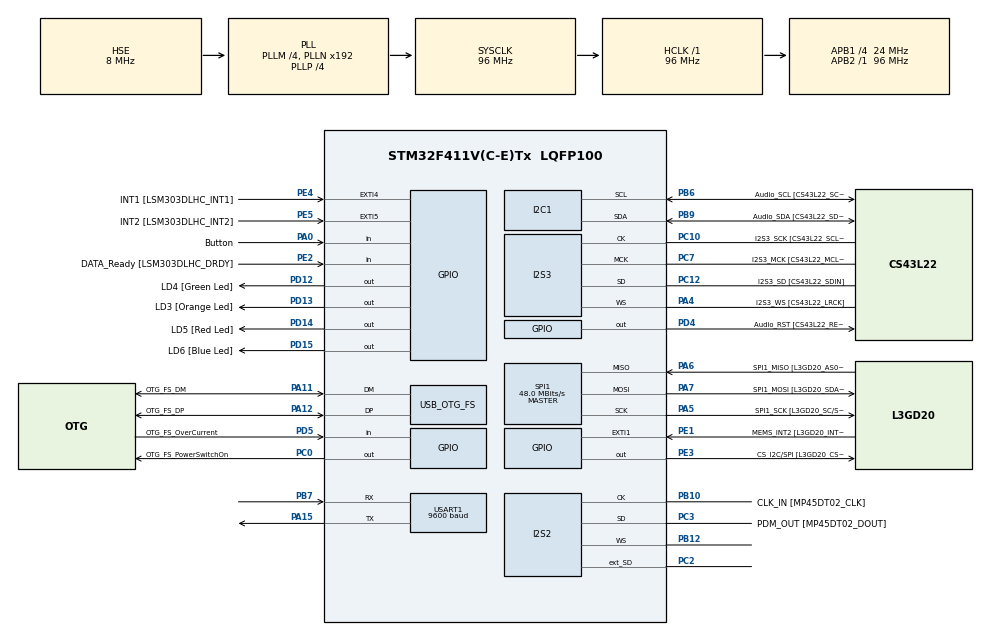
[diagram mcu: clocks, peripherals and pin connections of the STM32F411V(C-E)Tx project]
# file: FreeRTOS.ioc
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ADC1.Channel-7\#ChannelRegularConversion=ADC_CHANNEL_TEMPSENSOR
ADC1.NbrOfConversionFlag=1
ADC1.Rank-7\#ChannelRegularConversion=1
ADC1.SamplingTime-7\#ChannelRegularConversion=ADC_SAMPLETIME_3CYCLES
ADC1.master=1
FREERTOS.CountingSemaphores01=BigMac,100,Dynamic,NULL
FREERTOS.Queues01=FromBluetooth,64,64,1,Dynamic,NULL,NULL
FREERTOS.Tasks01=defaultTask,0,128,StartDefaultTask,Default,NULL,Dynamic,NULL,NULL;PD12Thread,-3,128,StartTask02,Default,NULL,Dynamic,NULL,NULL;PD13Thread,-3,128,StartTask03,Default,NULL,Dynamic,NULL,NULL;PD14Thread,-3,128,StartTask04,Default,NULL,Dynamic,NULL,NULL;PD15Thread,-3,128,StartTask05,Default,NULL,Dynamic,NULL,NULL
FREERTOS.configUSE_COUNTING_SEMAPHORES=1
I2S2.AudioFreq=I2S_AUDIOFREQ_96K
I2S2.ErrorAudioFreq=0.15 %
I2S2.FullDuplexMode=I2S_FULLDUPLEXMODE_ENABLE
I2S2.Instance=SPI$Index
I2S2.RealAudioFreq=96.153 KHz
I2S2.VirtualMode=I2S_MODE_MASTER
I2S3.AudioFreq=I2S_AUDIOFREQ_96K
I2S3.ErrorAudioFreq=-6.99 %
I2S3.FullDuplexMode=I2S_FULLDUPLEXMODE_DISABLE
I2S3.Instance=SPI$Index
I2S3.RealAudioFreq=89.285 KHz
I2S3.VirtualMode=I2S_MODE_MASTER
Mcu.Family=STM32F4
Mcu.Name=STM32F411V(C-E)Tx
Mcu.Package=LQFP100
NVIC.ADC_IRQn=true\:0\:0\:false\:false\:true\:true\:true\:true
NVIC.OTG_FS_IRQn=true\:0\:0\:false\:false\:true\:true\:true\:true
NVIC.PriorityGroup=NVIC_PRIORITYGROUP_4
NVIC.TIM1_UP_TIM10_IRQn=true\:0\:0\:false\:false\:true\:false\:false\:true
NVIC.TimeBase=TIM1_UP_TIM10_IRQn
NVIC.TimeBaseIP=TIM1
NVIC.USART1_IRQn=true\:0\:0\:false\:false\:true\:true\:true\:true
PA0-WKUP.GPIO_Label=Button
PA0-WKUP.Signal=GPIO_Input
PA10.GPIO_Label=OTG_FS_ID
PA10.Signal=USB_OTG_FS_ID
PA11.GPIO_Label=OTG_FS_DM
PA11.Mode=Device_Only
PA11.Signal=USB_OTG_FS_DM
PA12.GPIO_Label=OTG_FS_DP
PA12.Mode=Device_Only
PA12.Signal=USB_OTG_FS_DP
PA13.GPIO_Label=SWDIO
PA13.Mode=Serial_Wire
PA13.Signal=SYS_JTMS-SWDIO
PA14.GPIO_Label=SWCLK
PA14.Mode=Serial_Wire
PA14.Signal=SYS_JTCK-SWCLK
PA15.Mode=Asynchronous
PA15.Signal=USART1_TX
PA4.GPIO_Label=I2S3_WS [CS43L22_LRCK]
PA4.GPIO_Mode=GPIO_MODE_AF_PP
PA4.GPIO_PuPd=GPIO_NOPULL
PA4.GPIO_Speed=GPIO_SPEED_FREQ_LOW
PA4.Mode=Half_Duplex_Master
PA4.Signal=I2S3_WS
PA5.GPIO_Label=SPI1_SCK [L3GD20_SC/SPC]
PA5.Mode=Full_Duplex_Master
PA5.Signal=SPI1_SCK
PA6.GPIO_Label=SPI1_MISO [L3GD20_AS0/SDO]
PA6.Mode=Full_Duplex_Master
PA6.Signal=SPI1_MISO
PA7.GPIO_Label=SPI1_MOSI [L3GD20_SDA/SDI/SDO]
PA7.Mode=Full_Duplex_Master
PA7.Signal=SPI1_MOSI
PA9.GPIO_Label=VBUS_FS
PA9.Signal=USB_OTG_FS_VBUS
PB10.GPIO_Label=CLK_IN [MP45DT02_CLK]
PB10.Mode=Full_Duplex_Master
PB10.Signal=I2S2_CK
PB12.Mode=Full_Duplex_Master
PB12.Signal=I2S2_WS
PB3.GPIO_Label=SWO
PB3.Signal=SYS_JTDO-SWO
PB6.GPIO_Label=Audio_SCL [CS43L22_SCL]
PB6.GPIO_Mode=GPIO_MODE_AF_OD
PB6.GPIO_PuPd=GPIO_NOPULL
PB6.GPIO_Speed=GPIO_SPEED_FREQ_LOW
PB6.Mode=I2C
PB6.Signal=I2C1_SCL
PB7.Mode=Asynchronous
PB7.Signal=USART1_RX
PB9.GPIO_Label=Audio_SDA [CS43L22_SDA]
PB9.GPIO_Mode=GPIO_MODE_AF_OD
PB9.GPIO_PuPd=GPIO_NOPULL
PB9.GPIO_Speed=GPIO_SPEED_FREQ_LOW
PB9.Mode=I2C
PB9.Signal=I2C1_SDA
PC0.GPIO_Label=OTG_FS_PowerSwitchOn
PC0.PinState=GPIO_PIN_SET
PC0.Signal=GPIO_Output
PC10.GPIO_Label=I2S3_SCK [CS43L22_SCLK]
PC10.GPIO_Mode=GPIO_MODE_AF_PP
PC10.GPIO_PuPd=GPIO_NOPULL
PC10.GPIO_Speed=GPIO_SPEED_FREQ_LOW
PC10.Mode=Half_Duplex_Master
PC10.Signal=I2S3_CK
PC12.GPIO_Label=I2S3_SD [CS43L22_SDIN]
PC12.GPIO_Mode=GPIO_MODE_AF_PP
PC12.GPIO_PuPd=GPIO_NOPULL
PC12.GPIO_Speed=GPIO_SPEED_FREQ_LOW
PC12.Mode=Half_Duplex_Master
PC12.Signal=I2S3_SD
PC14-OSC32_IN.GPIO_Label=PC14-OSC32_IN
PC14-OSC32_IN.Mode=LSE-External-Oscillator
PC14-OSC32_IN.Signal=RCC_OSC32_IN
PC15-OSC32_OUT.GPIO_Label=PC15-OSC32_OUT
PC15-OSC32_OUT.Mode=LSE-External-Oscillator
PC15-OSC32_OUT.Signal=RCC_OSC32_OUT
PC2.Mode=Full_Duplex_Master
PC2.Signal=I2S2_ext_SD
PC3.GPIO_Label=PDM_OUT [MP45DT02_DOUT]
PC3.Mode=Full_Duplex_Master
PC3.Signal=I2S2_SD
PC7.GPIO_Label=I2S3_MCK [CS43L22_MCLK]
PC7.GPIO_Mode=GPIO_MODE_AF_PP
PC7.GPIO_PuPd=GPIO_NOPULL
PC7.GPIO_Speed=GPIO_SPEED_FREQ_LOW
PC7.Mode=Master_Clock_Activated
PC7.Signal=I2S3_MCK
PD12.GPIO_Label=LD4 [Green Led]
PD12.GPIO_PuPd=GPIO_NOPULL
PD12.GPIO_Speed=GPIO_SPEED_FREQ_LOW
PD12.Signal=GPIO_Output
PD13.GPIO_Label=LD3 [Orange Led]
PD13.GPIO_PuPd=GPIO_NOPULL
PD13.GPIO_Speed=GPIO_SPEED_FREQ_LOW
PD13.Signal=GPIO_Output
PD14.GPIO_Label=LD5 [Red Led]
PD14.GPIO_PuPd=GPIO_NOPULL
PD14.GPIO_Speed=GPIO_SPEED_FREQ_LOW
PD14.Signal=GPIO_Output
PD15.GPIO_Label=LD6 [Blue Led]
PD15.GPIO_PuPd=GPIO_NOPULL
PD15.GPIO_Speed=GPIO_SPEED_FREQ_LOW
PD15.Signal=GPIO_Output
PD4.GPIO_Label=Audio_RST [CS43L22_RESET]
PD4.Signal=GPIO_Output
PD5.GPIO_Label=OTG_FS_OverCurrent
PD5.Signal=GPIO_Input
PE1.GPIO_Label=MEMS_INT2 [L3GD20_INT2]
PE1.GPIO_ModeDefaultEXTI=GPIO_MODE_EVT_RISING
PE1.Signal=GPXTI1
PE2.GPIO_Label=DATA_Ready [LSM303DLHC_DRDY]
PE2.Signal=GPIO_Input
PE3.GPIO_Label=CS_I2C/SPI [L3GD20_CS_I2C/SPI]
PE3.Signal=GPIO_Output
PE4.GPIO_Label=INT1 [LSM303DLHC_INT1]
PE4.GPIO_ModeDefaultEXTI=GPIO_MODE_EVT_RISING
PE4.Signal=GPXTI4
PE5.GPIO_Label=INT2 [LSM303DLHC_INT2]
PE5.GPIO_ModeDefaultEXTI=GPIO_MODE_EVT_RISING
PE5.Signal=GPXTI5
PH0\ -\ OSC_IN.GPIO_Label=PH0-OSC_IN
PH0\ -\ OSC_IN.Mode=HSE-External-Oscillator
PH0\ -\ OSC_IN.Signal=RCC_OSC_IN
PH1\ -\ OSC_OUT.GPIO_Label=PH1-OSC_OUT
PH1\ -\ OSC_OUT.Mode=HSE-External-Oscillator
PH1\ -\ OSC_OUT.Signal=RCC_OSC_OUT
ProjectManager.HeapSize=0x200
ProjectManager.StackSize=0x400
ProjectManager.TargetToolchain=STM32CubeIDE
RCC.48MHZClocksFreq_Value=48000000
RCC.AHBFreq_Value=96000000
RCC.APB1CLKDivider=RCC_HCLK_DIV4
RCC.APB1Freq_Value=24000000
RCC.APB1TimFreq_Value=48000000
RCC.APB2Freq_Value=96000000
RCC.APB2TimFreq_Value=96000000
RCC.CortexFreq_Value=96000000
RCC.HCLKFreq_Value=96000000
RCC.HSE_VALUE=8000000
RCC.HSI_VALUE=16000000
RCC.PLLI2SM=5
RCC.PLLI2SN=200
RCC.PLLM=4
RCC.PLLP=RCC_PLLP_DIV4
RCC.PLLQ=8
RCC.SYSCLKFreq_VALUE=96000000
RCC.SYSCLKSource=RCC_SYSCLKSOURCE_PLLCLK
RCC.VCOOutputFreq_Value=384000000
SPI1.BaudRatePrescaler=SPI_BAUDRATEPRESCALER_2
SPI1.CalculateBaudRate=48.0 MBits/s
SPI1.Direction=SPI_DIRECTION_2LINES
SPI1.Mode=SPI_MODE_MASTER
SPI1.VirtualType=VM_MASTER
USART1.BaudRate=9600
USART1.VirtualMode=VM_ASYNC
USB_DEVICE.CLASS_NAME_FS=CDC
USB_DEVICE.VirtualMode=Cdc
USB_DEVICE.VirtualModeFS=Cdc_FS
USB_OTG_FS.VirtualMode=Device_Only
VP_ADC1_TempSens_Input.Mode=IN-TempSens
VP_FREERTOS_VS_CMSIS_V1.Mode=CMSIS_V1
VP_SYS_VS_tim1.Mode=TIM1
VP_USB_DEVICE_VS_USB_DEVICE_CDC_FS.Mode=CDC_FS
board=STM32F411E-DISCO

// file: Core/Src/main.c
/* USER CODE BEGIN Header */
/* USER CODE END Header */
#include "main.h"
#include "cmsis_os.h"
#include "usb_device.h"

/* USER CODE BEGIN Includes */
#include <string.h>
#include <usbd_cdc_if.h>
/* USER CODE END Includes */

/* USER CODE BEGIN PD */
char FromBuffer[8] = "";
/* USER CODE END PD */

ADC_HandleTypeDef hadc1;

I2C_HandleTypeDef hi2c1;

I2S_HandleTypeDef hi2s2;
I2S_HandleTypeDef hi2s3;

SPI_HandleTypeDef hspi1;

UART_HandleTypeDef huart1;

osThreadId defaultTaskHandle;
osThreadId PD12ThreadHandle;
osThreadId PD13ThreadHandle;
osThreadId PD14ThreadHandle;
osThreadId PD15ThreadHandle;
osMessageQId FromBluetoothHandle;
osSemaphoreId BigMacHandle;

void SystemClock_Config(void);
static void MX_GPIO_Init(void);
static void MX_I2C1_Init(void);
static void MX_I2S2_Init(void);
static void MX_I2S3_Init(void);
static void MX_SPI1_Init(void);
static void MX_USART1_UART_Init(void);
static void MX_ADC1_Init(void);
void StartDefaultTask(void const * argument);
void StartTask02(void const * argument);
void StartTask03(void const * argument);
void StartTask04(void const * argument);
void StartTask05(void const * argument);

int main(void)
{

  /* MCU Configuration--------------------------------------------------------*/

  /* Reset of all peripherals, Initializes the Flash interface and the Systick. */
  HAL_Init();

  /* USER CODE BEGIN Init */
    //MX_USB_DEVICE_Init();
  /* USER CODE END Init */

  /* Configure the system clock */
  SystemClock_Config();

  /* Initialize all configured peripherals */
  MX_GPIO_Init();
  MX_I2C1_Init();
  MX_I2S2_Init();
  MX_I2S3_Init();
  MX_SPI1_Init();
  MX_USART1_UART_Init();
  MX_ADC1_Init();

  /* Create the semaphores(s) */
  /* definition and creation of BigMac */
  osSemaphoreDef(BigMac);
  BigMacHandle = osSemaphoreCreate(osSemaphore(BigMac), 100);

  /* Create the queue(s) */
  /* definition and creation of FromBluetooth */
  osMessageQDef(FromBluetooth, 64, 64);
  FromBluetoothHandle = osMessageCreate(osMessageQ(FromBluetooth), NULL);

  /* Create the thread(s) */
  /* definition and creation of defaultTask */
  osThreadDef(defaultTask, StartDefaultTask, osPriorityNormal, 0, 128);
  defaultTaskHandle = osThreadCreate(osThread(defaultTask), NULL);

  /* definition and creation of PD12Thread */
  osThreadDef(PD12Thread, StartTask02, osPriorityIdle, 0, 128);
  PD12ThreadHandle = osThreadCreate(osThread(PD12Thread), NULL);

  /* definition and creation of PD13Thread */
  osThreadDef(PD13Thread, StartTask03, osPriorityIdle, 0, 128);
  PD13ThreadHandle = osThreadCreate(osThread(PD13Thread), NULL);

  /* definition and creation of PD14Thread */
  osThreadDef(PD14Thread, StartTask04, osPriorityIdle, 0, 128);
  PD14ThreadHandle = osThreadCreate(osThread(PD14Thread), NULL);

  /* definition and creation of PD15Thread */
  osThreadDef(PD15Thread, StartTask05, osPriorityIdle, 0, 128);
  PD15ThreadHandle = osThreadCreate(osThread(PD15Thread), NULL);

  /* Start scheduler */
  osKernelStart();

  /* We should never get here as control is now taken by the scheduler */
  /* Infinite loop */

}

void SystemClock_Config(void)
{
  RCC_OscInitTypeDef RCC_OscInitStruct = {0};
  RCC_ClkInitTypeDef RCC_ClkInitStruct = {0};
  RCC_PeriphCLKInitTypeDef PeriphClkInitStruct = {0};

  /** Configure the main internal regulator output voltage
  */
  __HAL_RCC_PWR_CLK_ENABLE();
  __HAL_PWR_VOLTAGESCALING_CONFIG(PWR_REGULATOR_VOLTAGE_SCALE1);
  /** Initializes the RCC Oscillators according to the specified parameters
  * in the RCC_OscInitTypeDef structure.
  */
  RCC_OscInitStruct.OscillatorType = RCC_OSCILLATORTYPE_HSE;
  RCC_OscInitStruct.HSEState = RCC_HSE_ON;
  RCC_OscInitStruct.PLL.PLLState = RCC_PLL_ON;
  RCC_OscInitStruct.PLL.PLLSource = RCC_PLLSOURCE_HSE;
  RCC_OscInitStruct.PLL.PLLM = 4;
  RCC_OscInitStruct.PLL.PLLN = 192;
  RCC_OscInitStruct.PLL.PLLP = RCC_PLLP_DIV4;
  RCC_OscInitStruct.PLL.PLLQ = 8;
  if (HAL_RCC_OscConfig(&RCC_OscInitStruct) != HAL_OK)
  {
    Error_Handler();
  }
  /** Initializes the CPU, AHB and APB buses clocks
  */
  RCC_ClkInitStruct.ClockType = RCC_CLOCKTYPE_HCLK|RCC_CLOCKTYPE_SYSCLK
                              |RCC_CLOCKTYPE_PCLK1|RCC_CLOCKTYPE_PCLK2;
  RCC_ClkInitStruct.SYSCLKSource = RCC_SYSCLKSOURCE_PLLCLK;
  RCC_ClkInitStruct.AHBCLKDivider = RCC_SYSCLK_DIV1;
  RCC_ClkInitStruct.APB1CLKDivider = RCC_HCLK_DIV4;
  RCC_ClkInitStruct.APB2CLKDivider = RCC_HCLK_DIV1;

  if (HAL_RCC_ClockConfig(&RCC_ClkInitStruct, FLASH_LATENCY_3) != HAL_OK)
  {
    Error_Handler();
  }
  PeriphClkInitStruct.PeriphClockSelection = RCC_PERIPHCLK_I2S;
  PeriphClkInitStruct.PLLI2S.PLLI2SN = 200;
  PeriphClkInitStruct.PLLI2S.PLLI2SM = 5;
  PeriphClkInitStruct.PLLI2S.PLLI2SR = 2;
  if (HAL_RCCEx_PeriphCLKConfig(&PeriphClkInitStruct) != HAL_OK)
  {
    Error_Handler();
  }
}

static void MX_ADC1_Init(void)
{

  ADC_ChannelConfTypeDef sConfig = {0};

  /** Configure the global features of the ADC (Clock, Resolution, Data Alignment and number of conversion)
  */
  hadc1.Instance = ADC1;
  hadc1.Init.ClockPrescaler = ADC_CLOCK_SYNC_PCLK_DIV4;
  hadc1.Init.Resolution = ADC_RESOLUTION_12B;
  hadc1.Init.ScanConvMode = DISABLE;
  hadc1.Init.ContinuousConvMode = DISABLE;
  hadc1.Init.DiscontinuousConvMode = DISABLE;
  hadc1.Init.ExternalTrigConvEdge = ADC_EXTERNALTRIGCONVEDGE_NONE;
  hadc1.Init.ExternalTrigConv = ADC_SOFTWARE_START;
  hadc1.Init.DataAlign = ADC_DATAALIGN_RIGHT;
  hadc1.Init.NbrOfConversion = 1;
  hadc1.Init.DMAContinuousRequests = DISABLE;
  hadc1.Init.EOCSelection = ADC_EOC_SINGLE_CONV;
  if (HAL_ADC_Init(&hadc1) != HAL_OK)
  {
    Error_Handler();
  }
  /** Configure for the selected ADC regular channel its corresponding rank in the sequencer and its sample time.
  */
  sConfig.Channel = ADC_CHANNEL_TEMPSENSOR;
  sConfig.Rank = 1;
  sConfig.SamplingTime = ADC_SAMPLETIME_3CYCLES;
  if (HAL_ADC_ConfigChannel(&hadc1, &sConfig) != HAL_OK)
  {
    Error_Handler();
  }

}

static void MX_I2C1_Init(void)
{

  hi2c1.Instance = I2C1;
  hi2c1.Init.ClockSpeed = 100000;
  hi2c1.Init.DutyCycle = I2C_DUTYCYCLE_2;
  hi2c1.Init.OwnAddress1 = 0;
  hi2c1.Init.AddressingMode = I2C_ADDRESSINGMODE_7BIT;
  hi2c1.Init.DualAddressMode = I2C_DUALADDRESS_DISABLE;
  hi2c1.Init.OwnAddress2 = 0;
  hi2c1.Init.GeneralCallMode = I2C_GENERALCALL_DISABLE;
  hi2c1.Init.NoStretchMode = I2C_NOSTRETCH_DISABLE;
  if (HAL_I2C_Init(&hi2c1) != HAL_OK)
  {
    Error_Handler();
  }

}

static void MX_I2S2_Init(void)
{

  hi2s2.Instance = SPI2;
  hi2s2.Init.Mode = I2S_MODE_MASTER_TX;
  hi2s2.Init.Standard = I2S_STANDARD_PHILIPS;
  hi2s2.Init.DataFormat = I2S_DATAFORMAT_16B;
  hi2s2.Init.MCLKOutput = I2S_MCLKOUTPUT_DISABLE;
  hi2s2.Init.AudioFreq = I2S_AUDIOFREQ_96K;
  hi2s2.Init.CPOL = I2S_CPOL_LOW;
  hi2s2.Init.ClockSource = I2S_CLOCK_PLL;
  hi2s2.Init.FullDuplexMode = I2S_FULLDUPLEXMODE_ENABLE;
  if (HAL_I2S_Init(&hi2s2) != HAL_OK)
  {
    Error_Handler();
  }

}

static void MX_I2S3_Init(void)
{

  hi2s3.Instance = SPI3;
  hi2s3.Init.Mode = I2S_MODE_MASTER_TX;
  hi2s3.Init.Standard = I2S_STANDARD_PHILIPS;
  hi2s3.Init.DataFormat = I2S_DATAFORMAT_16B;
  hi2s3.Init.MCLKOutput = I2S_MCLKOUTPUT_ENABLE;
  hi2s3.Init.AudioFreq = I2S_AUDIOFREQ_96K;
  hi2s3.Init.CPOL = I2S_CPOL_LOW;
  hi2s3.Init.ClockSource = I2S_CLOCK_PLL;
  hi2s3.Init.FullDuplexMode = I2S_FULLDUPLEXMODE_DISABLE;
  if (HAL_I2S_Init(&hi2s3) != HAL_OK)
  {
    Error_Handler();
  }

}

static void MX_SPI1_Init(void)
{

  /* SPI1 parameter configuration*/
  hspi1.Instance = SPI1;
  hspi1.Init.Mode = SPI_MODE_MASTER;
  hspi1.Init.Direction = SPI_DIRECTION_2LINES;
  hspi1.Init.DataSize = SPI_DATASIZE_8BIT;
  hspi1.Init.CLKPolarity = SPI_POLARITY_LOW;
  hspi1.Init.CLKPhase = SPI_PHASE_1EDGE;
  hspi1.Init.NSS = SPI_NSS_SOFT;
  hspi1.Init.BaudRatePrescaler = SPI_BAUDRATEPRESCALER_2;
  hspi1.Init.FirstBit = SPI_FIRSTBIT_MSB;
  hspi1.Init.TIMode = SPI_TIMODE_DISABLE;
  hspi1.Init.CRCCalculation = SPI_CRCCALCULATION_DISABLE;
  hspi1.Init.CRCPolynomial = 10;
  if (HAL_SPI_Init(&hspi1) != HAL_OK)
  {
    Error_Handler();
  }

}

static void MX_USART1_UART_Init(void)
{

  huart1.Instance = USART1;
  huart1.Init.BaudRate = 9600;
  huart1.Init.WordLength = UART_WORDLENGTH_8B;
  huart1.Init.StopBits = UART_STOPBITS_1;
  huart1.Init.Parity = UART_PARITY_NONE;
  huart1.Init.Mode = UART_MODE_TX_RX;
  huart1.Init.HwFlowCtl = UART_HWCONTROL_NONE;
  huart1.Init.OverSampling = UART_OVERSAMPLING_16;
  if (HAL_UART_Init(&huart1) != HAL_OK)
  {
    Error_Handler();
  }

}

static void MX_GPIO_Init(void)
{
  GPIO_InitTypeDef GPIO_InitStruct = {0};

  /* GPIO Ports Clock Enable */
  __HAL_RCC_GPIOE_CLK_ENABLE();
  __HAL_RCC_GPIOC_CLK_ENABLE();
  __HAL_RCC_GPIOH_CLK_ENABLE();
  __HAL_RCC_GPIOA_CLK_ENABLE();
  __HAL_RCC_GPIOB_CLK_ENABLE();
  __HAL_RCC_GPIOD_CLK_ENABLE();

  /*Configure GPIO pin Output Level */
  HAL_GPIO_WritePin(CS_I2C_SPI_GPIO_Port, CS_I2C_SPI_Pin, GPIO_PIN_RESET);

  /*Configure GPIO pin Output Level */
  HAL_GPIO_WritePin(OTG_FS_PowerSwitchOn_GPIO_Port, OTG_FS_PowerSwitchOn_Pin, GPIO_PIN_SET);

  /*Configure GPIO pin Output Level */
  HAL_GPIO_WritePin(GPIOD, LD4_Pin|LD3_Pin|LD5_Pin|LD6_Pin
                          |Audio_RST_Pin, GPIO_PIN_RESET);

  /*Configure GPIO pin : DATA_Ready_Pin */
  GPIO_InitStruct.Pin = DATA_Ready_Pin;
  GPIO_InitStruct.Mode = GPIO_MODE_INPUT;
  GPIO_InitStruct.Pull = GPIO_NOPULL;
  HAL_GPIO_Init(DATA_Ready_GPIO_Port, &GPIO_InitStruct);

  /*Configure GPIO pin : CS_I2C_SPI_Pin */
  GPIO_InitStruct.Pin = CS_I2C_SPI_Pin;
  GPIO_InitStruct.Mode = GPIO_MODE_OUTPUT_PP;
  GPIO_InitStruct.Pull = GPIO_NOPULL;
  GPIO_InitStruct.Speed = GPIO_SPEED_FREQ_LOW;
  HAL_GPIO_Init(CS_I2C_SPI_GPIO_Port, &GPIO_InitStruct);

  /*Configure GPIO pins : INT1_Pin INT2_Pin MEMS_INT2_Pin */
  GPIO_InitStruct.Pin = INT1_Pin|INT2_Pin|MEMS_INT2_Pin;
  GPIO_InitStruct.Mode = GPIO_MODE_EVT_RISING;
  GPIO_InitStruct.Pull = GPIO_NOPULL;
  HAL_GPIO_Init(GPIOE, &GPIO_InitStruct);

  /*Configure GPIO pin : OTG_FS_PowerSwitchOn_Pin */
  GPIO_InitStruct.Pin = OTG_FS_PowerSwitchOn_Pin;
  GPIO_InitStruct.Mode = GPIO_MODE_OUTPUT_PP;
  GPIO_InitStruct.Pull = GPIO_NOPULL;
  GPIO_InitStruct.Speed = GPIO_SPEED_FREQ_LOW;
  HAL_GPIO_Init(OTG_FS_PowerSwitchOn_GPIO_Port, &GPIO_InitStruct);

  /*Configure GPIO pin : Button_Pin */
  GPIO_InitStruct.Pin = Button_Pin;
  GPIO_InitStruct.Mode = GPIO_MODE_INPUT;
  GPIO_InitStruct.Pull = GPIO_NOPULL;
  HAL_GPIO_Init(Button_GPIO_Port, &GPIO_InitStruct);

  /*Configure GPIO pins : LD4_Pin LD3_Pin LD5_Pin LD6_Pin
                           Audio_RST_Pin */
  GPIO_InitStruct.Pin = LD4_Pin|LD3_Pin|LD5_Pin|LD6_Pin
                          |Audio_RST_Pin;
  GPIO_InitStruct.Mode = GPIO_MODE_OUTPUT_PP;
  GPIO_InitStruct.Pull = GPIO_NOPULL;
  GPIO_InitStruct.Speed = GPIO_SPEED_FREQ_LOW;
  HAL_GPIO_Init(GPIOD, &GPIO_InitStruct);

  /*Configure GPIO pin : OTG_FS_OverCurrent_Pin */
  GPIO_InitStruct.Pin = OTG_FS_OverCurrent_Pin;
  GPIO_InitStruct.Mode = GPIO_MODE_INPUT;
  GPIO_InitStruct.Pull = GPIO_NOPULL;
  HAL_GPIO_Init(OTG_FS_OverCurrent_GPIO_Port, &GPIO_InitStruct);

}

void StartDefaultTask(void const * argument)
{
  /* init code for USB_DEVICE */
  MX_USB_DEVICE_Init();
  /* USER CODE BEGIN 5 */
  BigMacHandle = xSemaphoreCreateCounting( 100, 0 );
  char pData[8] = "";
  char* ToSerial = "Hello from STM32\n";
  pData[0] = '0';
    for(;;)
    {

           HAL_UART_Receive_IT(&huart1, pData, 8);

           if (pData[0] != '0')
           {
               xQueueSendToBack(FromBluetoothHandle, pData, 10);
               pData[0] = '0';
           }
        CDC_Transmit_FS(ToSerial, 17);
        osDelay(500);
    }
  /* USER CODE END 5 */
}

void StartTask02(void const * argument)
{
  /* USER CODE BEGIN StartTask02 */
   HAL_ADC_Init(&hadc1);
    uint8_t temp_r = 0;
    float temp = 0;
    uint8_t i_temp = 0;
    for(;;)
    {
        //xSemaphoreTake( BigMacHandle, portMAX_DELAY);
        HAL_ADC_Start(&hadc1);
        HAL_ADC_PollForConversion(&hadc1, 5);

        temp_r = HAL_ADC_GetValue(&hadc1);
        temp = temp_r * 2.34 / 3.44;
        i_temp = temp;

        HAL_GPIO_WritePin(GPIOD, LD4_Pin,GPIO_PIN_RESET);
        osDelay(200);
        HAL_GPIO_WritePin(GPIOD, LD4_Pin, SET);
        osDelay(200);
        HAL_GPIO_WritePin(GPIOD, LD4_Pin, RESET);
        uint8_t pBuffer[3];

        pBuffer[0] = i_temp / 10 + 48;
        pBuffer[1] = i_temp % 10 + 48;
        pBuffer[2] = '\n';
        //pBuffer[1] = '\n';
        uint16_t size =3;
        if (uxQueueMessagesWaiting(FromBluetoothHandle) > 0)
        {
            HAL_UART_Transmit_IT(&huart1, pBuffer, size);
            while(xQueueReceive(FromBluetoothHandle, FromBuffer, 10) == pdTRUE)
            {
                HAL_GPIO_WritePin(GPIOD, LD3_Pin, GPIO_PIN_RESET);
                osDelay(100);
                HAL_GPIO_WritePin(GPIOD, LD3_Pin, SET);
                osDelay(100);
                HAL_GPIO_WritePin(GPIOD, LD3_Pin, RESET);
            }
        }
        osDelay(100);

    }
  /* USER CODE END StartTask02 */
}

void StartTask03(void const * argument)
{
  /* USER CODE BEGIN StartTask03 */
    for(;;)
    {
        //xSemaphoreTake( BigMacHandle, portMAX_DELAY);
        if (HAL_GPIO_ReadPin(Button_GPIO_Port, Button_Pin) == SET)
        {
            xSemaphoreGive(BigMacHandle);
        }
        osDelay(50);

    }
  /* USER CODE END StartTask03 */
}

void StartTask04(void const * argument)
{
  /* USER CODE BEGIN StartTask04 */
    for(;;)
    {
        xSemaphoreTake( BigMacHandle, portMAX_DELAY);
        HAL_GPIO_WritePin(GPIOD, LD5_Pin,GPIO_PIN_RESET);
        osDelay(500);
        HAL_GPIO_WritePin(GPIOD, LD5_Pin, SET);
        osDelay(500);
        HAL_GPIO_WritePin(GPIOD, LD5_Pin, RESET);
    }
  /* USER CODE END StartTask04 */
}

void StartTask05(void const * argument)
{
  /* USER CODE BEGIN StartTask05 */
    for(;;)
    {
        xSemaphoreTake( BigMacHandle, portMAX_DELAY);
        HAL_GPIO_WritePin(GPIOD, LD6_Pin,GPIO_PIN_RESET);
        osDelay(700);
        HAL_GPIO_WritePin(GPIOD, LD6_Pin, SET);
        osDelay(700);
        HAL_GPIO_WritePin(GPIOD, LD6_Pin, RESET);

    }
  /* USER CODE END StartTask05 */
}

void HAL_TIM_PeriodElapsedCallback(TIM_HandleTypeDef *htim)
{
  if (htim->Instance == TIM1) {
    HAL_IncTick();
  }
}

void Error_Handler(void)
{
}

/************************ (C) COPYRIGHT STMicroelectronics *****END OF FILE****/
